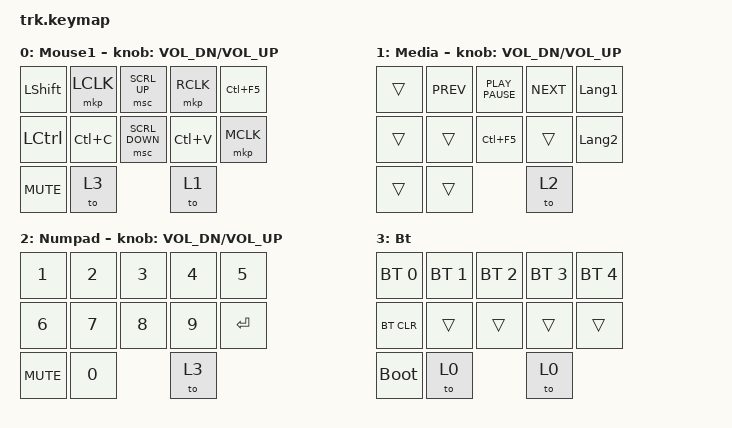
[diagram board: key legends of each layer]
#include <behaviors.dtsi>
#include <dt-bindings/zmk/bt.h>
#include <dt-bindings/zmk/keys.h>
#include <dt-bindings/zmk/pointing.h>

&encoder { status = "okay"; };

/ {
    macros {
        login: login {
            compatible = "zmk,behavior-macro";
            #binding-cells = <0>;
            bindings = <&kp N5 &kp N5 &kp N8 &kp N5>;
            label = "LOGIN";
        };

        posao_login: posao_login {
            compatible = "zmk,behavior-macro";
            #binding-cells = <0>;
            bindings = <&kp N2 &kp N2 &kp N3 &kp N3>;
            label = "POSAO_LOGIN";
        };

        sync: sync {
            compatible = "zmk,behavior-macro";
            #binding-cells = <0>;
            bindings = <&kp S &kp Y &kp N &kp C>;
            label = "SYNC";
        };
    };

    keymap {
        compatible = "zmk,keymap";

        Mouse1 {
            bindings = <
&kp LEFT_SHIFT  &mkp LCLK  &msc SCRL_UP    &mkp RCLK  &kp LC(F5)
&kp LCTRL       &kp LC(C)  &msc SCRL_DOWN  &kp LC(V)  &mkp MCLK
&kp C_MUTE      &to 3                      &to 1
            >;

            sensor-bindings = <&inc_dec_kp C_VOL_DN C_VOL_UP>;
        };

        Media {
            bindings = <
&trans  &kp K_PREV  &kp K_PLAY_PAUSE  &kp K_NEXT  &kp LANGUAGE_1
&trans  &trans      &kp LC(F5)        &trans      &kp LANGUAGE_2
&trans  &trans                        &to 2
            >;

            sensor-bindings = <&inc_dec_kp C_VOL_DN C_VOLUME_UP>;
        };

        Numpad {
            bindings = <
&kp N1      &kp N2  &kp N3  &kp N4  &kp N5
&kp N6      &kp N7  &kp N8  &kp N9  &kp RET
&kp C_MUTE  &kp N0          &to 3
            >;

            sensor-bindings = <&inc_dec_kp C_VOL_DN C_VOL_UP>;
        };

        Bt {
            bindings = <
&bt BT_SEL 0  &bt BT_SEL 1  &bt BT_SEL 2  &bt BT_SEL 3  &bt BT_SEL 4
&bt BT_CLR    &trans        &trans        &trans        &trans
&bootloader   &to 0                       &to 0
            >;
        };
    };
};
